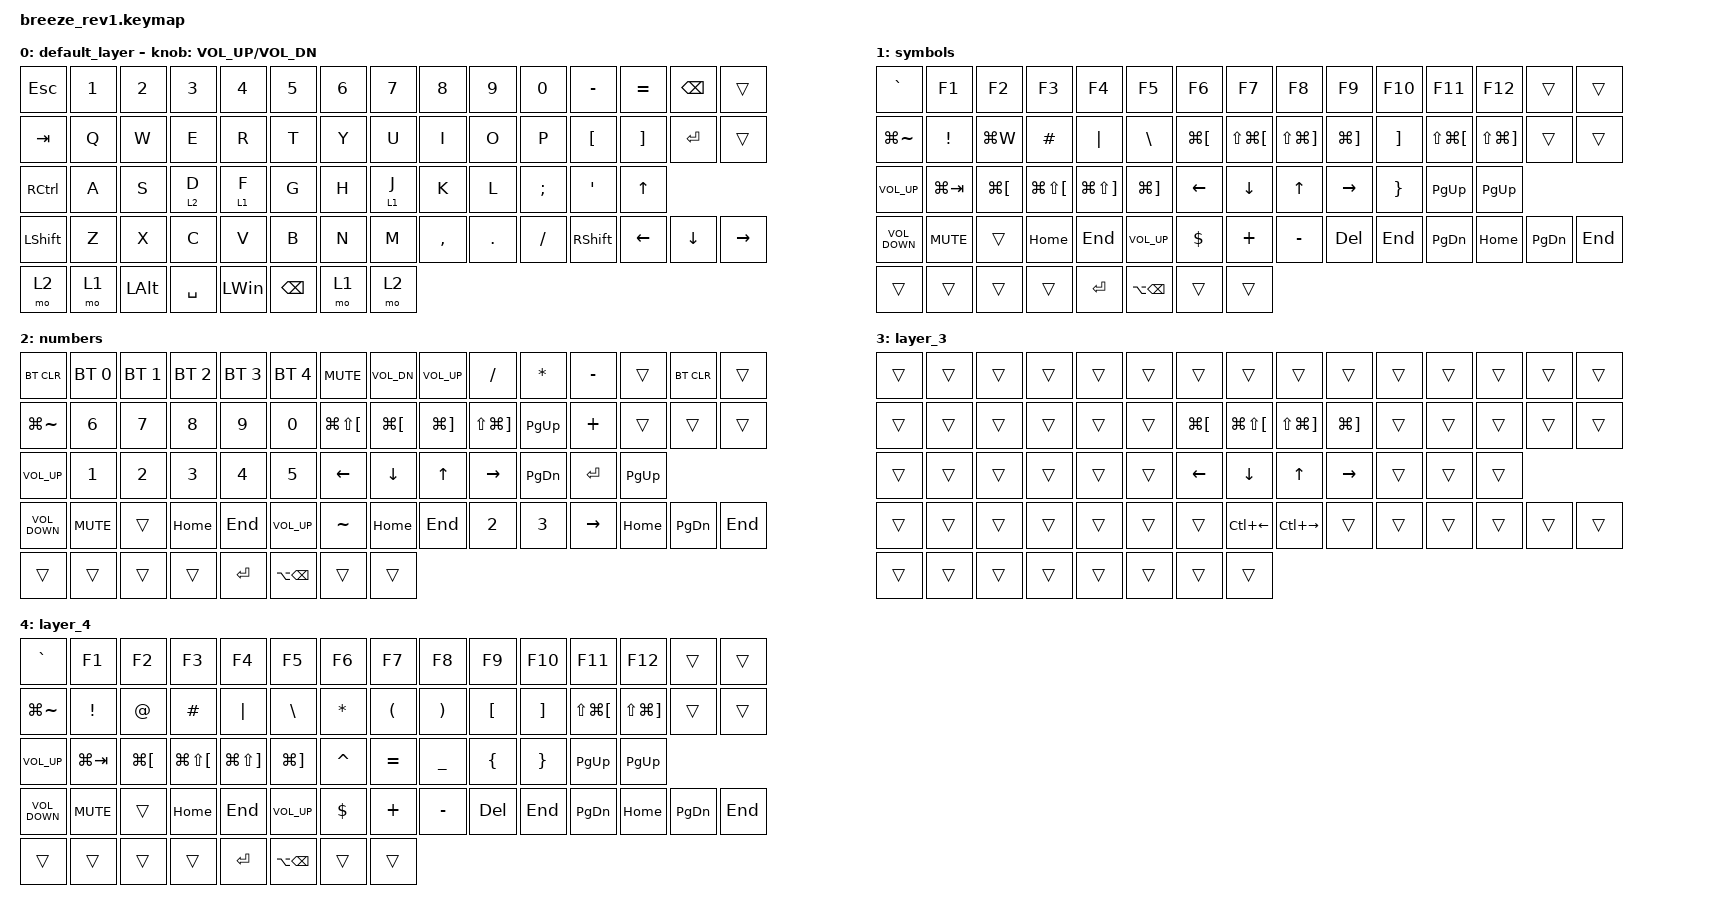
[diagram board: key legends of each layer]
/*
 * Copyright (c) 2022 The ZMK Contributors
 *
 * SPDX-License-Identifier: MIT
 */

#include <behaviors.dtsi>
#include <dt-bindings/zmk/bt.h>
#include <dt-bindings/zmk/keys.h>

/ {
    keymap {
        compatible = "zmk,keymap";

        default_layer {
            // Ref: https://zmkfirmware.dev/docs/codes/
            // ---  MAIN  -----------------------------------------------------------------------------------------------------------------------
            // |    ESC    |     1     |     2     |     3      |      4      |      5     |                           |      6      |      7     |      8      |      9     |     0    |    BSPC    | |    -/_    |     =/+     |    GRAVE    |
            // |    TAB    |     Q     |     W     |     E      |      R      |      T     |                           |      Y      |      U     |      I      |      O     |     P    |    DEL     | |     \     |      [      |      ]      |
            // |   LCTRL   |     A     |     S     |     D      |      F      |      G     |                           |      H      |      J     |      K      |      L     |     ;    |     '      | |           |      UP     |             |
            // |   SHIFT   |     Z     |     X     |     C      |      V      |      B     |                           |      N      |      M     |      ,      |      .     |     /    |   RSHIFT   | |     L     |      DN     |      R      |
            //                                     |   NUMPAD   |     LALT    |    LCMD    |   SPACE    |  |   ENTER   |   FUNCTION  |  MACOS APP |  MACOS LANG |

            bindings = <
&kp ESC    &kp N1  &kp N2        &kp N3     &kp N4        &kp N5    &kp N6  &kp N7   &kp N8     &kp N9   &kp N0    &kp MINUS   &kp EQUAL  &kp BACKSPACE  &trans
&kp TAB    &kp Q   &kp W         &kp E      &kp R         &kp T     &kp Y   &kp U    &kp I      &kp O    &kp P     &kp LBKT    &kp RBKT   &kp ENTER      &trans
&kp RCTRL  &kp A   &kp S         &lt 2 D    &lt 1 F       &kp G     &kp H   &lt 1 J  &kp K      &kp L    &kp SEMI  &kp APOS    &kp UP
&kp LSHFT  &kp Z   &kp X         &kp C      &kp V         &kp B     &kp N   &kp M    &kp COMMA  &kp DOT  &kp FSLH  &kp RSHIFT  &kp LEFT   &kp DOWN       &kp RIGHT
&mo 2      &mo 1   &kp LEFT_ALT  &kp SPACE  &kp LEFT_WIN  &kp BSPC  &mo 1   &mo 2
            >;

            sensor-bindings = <&inc_dec_kp C_VOL_UP C_VOL_DN>;
        };

        symbols {
            // ---  FUNCTION  -------------------------------------------------------------------------------------------------------------------
            // | BT Clear  |  BT Prev  |  BT Next  |            |             |            |                           |             |            |             |            |          |            | |           |             |             |
            // |           |           |           |            |             |            |                           |             |            |     UP      |            |          |            | |           |             |             |
            // |           |           |           |            |             |            |                           |             |    LEFT    |    DOWN     |   RIGHT    |          |            | |           |             |             |
            // |           |           |           |            |             |            |                           |             |    MUTE    |  VOL DOWN   |   VOL UP   |          |            | |           |             |             |
            //                                     |            |             |            |            |  |           |             |            |             |

            bindings = <
&kp GRAVE          &kp F1           &kp F2                &kp F3                    &kp F4                     &kp F5                 &kp F6                &kp F7                    &kp F8                     &kp F9                 &kp F10            &kp F11                   &kp F12                    &trans         &trans
&kp LG(TILDE)      &kp EXCLAMATION  &kp LG(W)             &kp HASH                  &kp PIPE                   &kp BACKSLASH          &kp LG(LEFT_BRACKET)  &kp LS(LG(LEFT_BRACKET))  &kp LS(LG(RIGHT_BRACKET))  &kp LG(RIGHT_BRACKET)  &kp RIGHT_BRACKET  &kp LS(LG(LEFT_BRACKET))  &kp LS(LG(RIGHT_BRACKET))  &trans         &trans
&kp C_VOLUME_UP    &kp LG(TAB)      &kp LG(LEFT_BRACKET)  &kp LG(LS(LEFT_BRACKET))  &kp LG(LS(RIGHT_BRACKET))  &kp LG(RIGHT_BRACKET)  &kp LEFT              &kp DOWN                  &kp UP                     &kp RIGHT              &kp RIGHT_BRACE    &kp PAGE_UP               &kp PAGE_UP
&kp C_VOLUME_DOWN  &kp K_MUTE       &trans                &kp HOME                  &kp END                    &kp C_VOLUME_UP        &kp DOLLAR            &kp PLUS                  &kp MINUS                  &kp DELETE             &kp END            &kp PAGE_DOWN             &kp HOME                   &kp PAGE_DOWN  &kp END
&trans             &trans           &trans                &trans                    &kp ENTER                  &kp LA(BACKSPACE)      &trans                &trans
            >;
        };

        numbers {
            bindings = <
&bt BT_CLR         &bt BT_SEL 0  &bt BT_SEL 1  &bt BT_SEL 2  &bt BT_SEL 3  &bt BT_SEL 4       &kp K_MUTE                &kp C_VOL_DN          &kp C_VOLUME_UP        &kp FSLH                   &kp ASTERISK   &kp MINUS  &trans       &bt BT_CLR     &trans
&kp LG(TILDE)      &kp N6        &kp N7        &kp N8        &kp N9        &kp N0             &kp LG(LS(LEFT_BRACKET))  &kp LG(LEFT_BRACKET)  &kp LG(RIGHT_BRACKET)  &kp LS(LG(RIGHT_BRACKET))  &kp PAGE_UP    &kp PLUS   &trans       &trans         &trans
&kp C_VOLUME_UP    &kp N1        &kp N2        &kp N3        &kp N4        &kp N5             &kp LEFT                  &kp DOWN              &kp UP                 &kp RIGHT                  &kp PAGE_DOWN  &kp ENTER  &kp PAGE_UP
&kp C_VOLUME_DOWN  &kp K_MUTE    &trans        &kp HOME      &kp END       &kp C_VOLUME_UP    &kp TILDE                 &kp HOME              &kp END                &kp N2                     &kp N3         &kp RIGHT  &kp HOME     &kp PAGE_DOWN  &kp END
&trans             &trans        &trans        &trans        &kp ENTER     &kp LA(BACKSPACE)  &trans                    &trans
            >;
        };

        layer_3 {
            bindings = <
&trans  &trans  &trans  &trans  &trans  &trans  &trans                &trans                    &trans                     &trans                 &trans  &trans  &trans  &trans  &trans
&trans  &trans  &trans  &trans  &trans  &trans  &kp LG(LEFT_BRACKET)  &kp LG(LS(LEFT_BRACKET))  &kp LS(LG(RIGHT_BRACKET))  &kp LG(RIGHT_BRACKET)  &trans  &trans  &trans  &trans  &trans
&trans  &trans  &trans  &trans  &trans  &trans  &kp LEFT              &kp DOWN                  &kp UP                     &kp RIGHT              &trans  &trans  &trans
&trans  &trans  &trans  &trans  &trans  &trans  &trans                &kp LC(LEFT_ARROW)        &kp LC(RIGHT)              &trans                 &trans  &trans  &trans  &trans  &trans
&trans  &trans  &trans  &trans  &trans  &trans  &trans                &trans
            >;
        };

        layer_4 {
            bindings = <
&kp GRAVE          &kp F1           &kp F2                &kp F3                    &kp F4                     &kp F5                 &kp F6        &kp F7                &kp F8                 &kp F9            &kp F10            &kp F11                   &kp F12                    &trans         &trans
&kp LG(TILDE)      &kp EXCLAMATION  &kp AT_SIGN           &kp HASH                  &kp PIPE                   &kp BACKSLASH          &kp ASTERISK  &kp LEFT_PARENTHESIS  &kp RIGHT_PARENTHESIS  &kp LEFT_BRACKET  &kp RIGHT_BRACKET  &kp LS(LG(LEFT_BRACKET))  &kp LS(LG(RIGHT_BRACKET))  &trans         &trans
&kp C_VOLUME_UP    &kp LG(TAB)      &kp LG(LEFT_BRACKET)  &kp LG(LS(LEFT_BRACKET))  &kp LG(LS(RIGHT_BRACKET))  &kp LG(RIGHT_BRACKET)  &kp CARET     &kp EQUAL             &kp UNDERSCORE         &kp LEFT_BRACE    &kp RIGHT_BRACE    &kp PAGE_UP               &kp PAGE_UP
&kp C_VOLUME_DOWN  &kp K_MUTE       &trans                &kp HOME                  &kp END                    &kp C_VOLUME_UP        &kp DOLLAR    &kp PLUS              &kp MINUS              &kp DELETE        &kp END            &kp PAGE_DOWN             &kp HOME                   &kp PAGE_DOWN  &kp END
&trans             &trans           &trans                &trans                    &kp ENTER                  &kp LA(BACKSPACE)      &trans        &trans
            >;
        };
    };
};
